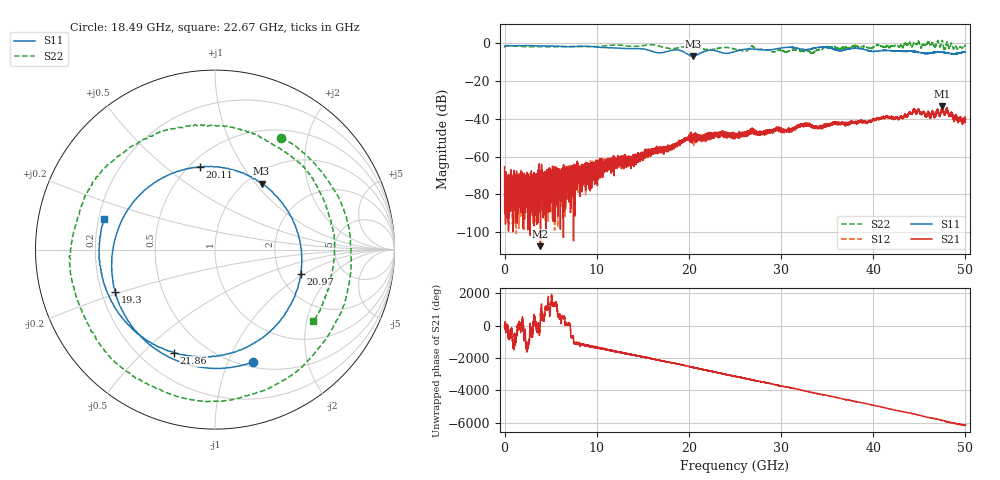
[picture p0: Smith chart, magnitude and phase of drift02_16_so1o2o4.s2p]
!Created with skrf (http://scikit-rf.org).
# Hz S RI R 50.0
!freq ReS11 ImS11 ReS21 ImS21 ReS12 ImS12 ReS22 ImS22
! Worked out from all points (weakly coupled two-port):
!   10001 points, 300 kHz to 50 GHz, reference 50 ohm
!   highest |S21| = -33.43 dB at 47.5 GHz (marker M1); lowest = -107.3 dB at 3.89 GHz (marker M2)
!   lowest |S11| = -6.9 dB at 20.43 GHz (marker M3), VSWR 2.63, Z = 58.4 + j53.7 ohm
!   |S11| at or under -10 dB: nowhere
!   |S22| runs from -5.4 to 1.3 dB; largest |S21 - S12| = 0.0033
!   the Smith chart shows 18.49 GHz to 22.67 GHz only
!   S11 on the Smith chart (normalised r, x): 18.49 GHz: 0.55, -1.23; 19.3 GHz: 0.26, -0.19; 20.11 GHz: 0.56, +0.67; 20.97 GHz: 2.60, -0.92; 21.86 GHz: 0.33, -0.62; 22.67 GHz: 0.22, +0.13
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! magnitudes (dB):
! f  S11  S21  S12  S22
! 300 kHz  -2.1  -65.4  -70.4  -1.3
! 260.3 MHz  -1.4  -74.3  -78.3  -1.4
! 3.205 GHz  -1.4  -76.4  -81.1  -2.0
! 3.89 GHz  -1.5  -107.3  -74.7  -2.0
! 5.18 GHz  -1.6  -78.9  -73.8  -2.0
! 8.335 GHz  -1.7  -68.8  -65.6  -1.9
! 16.67 GHz  -5.2  -57.6  -58.1  -1.5
! 18.49 GHz  -3.6  -54.7  -54.4  -2.8
! 19.3 GHz  -4.4  -52.0  -51.8  -2.1
! 20.11 GHz  -6.6  -50.7  -51.4  -1.5
! 20.43 GHz  -6.9  -49.9  -48.9  -1.8
! 20.97 GHz  -6.1  -48.6  -50.4  -2.2
! 21.86 GHz  -4.2  -48.9  -49.8  -3.5
! 22.67 GHz  -3.9  -49.4  -48.5  -3.4
! 25 GHz  -4.5  -49.4  -48.3  -3.2
! 26.11 GHz  -3.3  -48.7  -48.4  -4.3
! 26.9 GHz  -3.2  -46.1  -46.4  -1.7
! 33.34 GHz  -3.0  -43.9  -43.7  -5.3
! 34.89 GHz  -2.3  -43.6  -43.6  -2.2
! 41.67 GHz  -4.0  -39.7  -39.2  -2.3
! 47.5 GHz  -4.9  -33.4  -33.9  1.1
! 50 GHz  -4.7  -40.1  -41.0  -1.4
